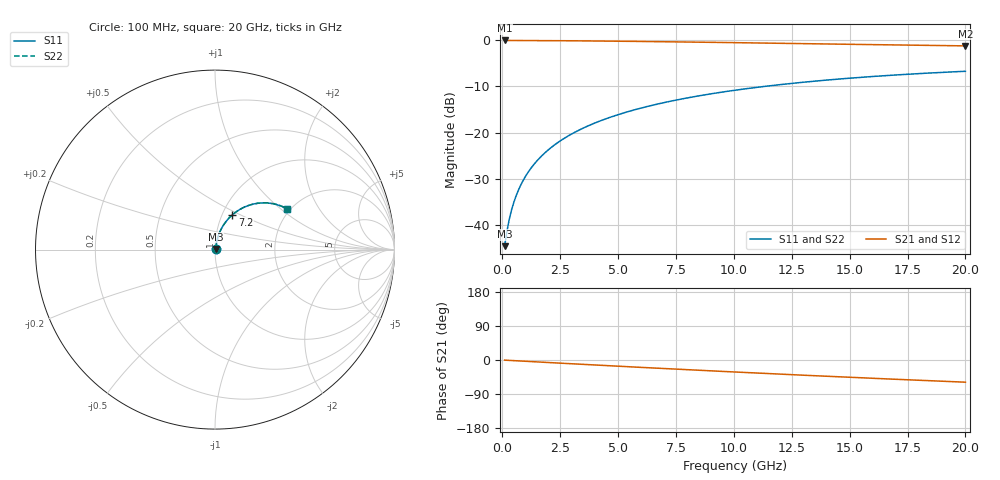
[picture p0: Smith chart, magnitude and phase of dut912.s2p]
! Touchstone file exported from HFSS 2026.1.0
!  File:  C:/ffzhzh/LocalFiles/Ansys_Project_Files/temp_train_BSMRDL_912_1783171596_43440.aedt
!  Generated:  09:28:02 PM Jul  4, 2026
!  Design:  BSMRDL
!  Project:  temp_train_BSMRDL_912_1783171596_43440
! Variables:
!  h_bsmrdl = 5.35um
!  h_ox = 20um
!  h_rdl = 5um
!  h_sub = 80um
!  h_tmrdl = 5um
!  h_tsv = 80um
!  h_via = 3um
!  l_bsmrdl = 958.16um
!  l_sub = 1358.16um
!  l_tmrdl = 200um
!  m_sub = 200um
!  pitch = 34.03um
!  r_tsv = 6um
!  s_tmrdl = 10um
!  w_bsmrdl = 13.5um
!  w_sub = 500um
!  w_tmrdl = 12um
!  x_tsv_center1 = 206um
!  x_tsv_center2 = 1177.66um
!  x_tsv_center3 = 1389.66um
!  x_tsv_center4 = 2361.32um
!  x_tsv_center5 = 2573.32um
!  x_tsv_center6 = 3544.98um
# GHz S MA R 50.000000
! Terminal data exported
! Port[1] = BSM_RDL1_1_T1
! Port[2] = BSM_RDL1_1_T2
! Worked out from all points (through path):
!   200 points, 100 MHz to 20 GHz, reference 50 ohm
!   highest |S21| = -0.04 dB at 100 MHz (marker M1); lowest = -1.2 dB at 20 GHz (marker M2)
!   group delay of S21, straight-line fit = 8.12 ps
!   lowest |S11| = -44.6 dB at 100 MHz (marker M3), VSWR 1.01, Z = 50.5 + j0.355 ohm
!   |S11| at or under -10 dB: start of sweep to 11.3 GHz
!   |S22| runs from -44.6 to -6.7 dB; largest |S21 - S12| = 4.5e-15
!   S11 on the Smith chart (normalised r, x): 100 MHz: 1.01, +0.01; 7.2 GHz: 1.12, +0.46; 20 GHz: 1.93, +1.11
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0.1  0.005919 36.4  0.9953 -0.3  0.9953 -0.3  0.005919 36.4
! Gamma 0 0 0 0
! Port Impedance 50 0 50 0
0.2  0.008542 54.2  0.9951 -0.7  0.9951 -0.7  0.008541 54.2
0.3  0.01152 62.7  0.9949 -1.0  0.9949 -1.0  0.01152 62.7
0.4  0.0146 67.6  0.9947 -1.4  0.9947 -1.4  0.0146 67.6
0.5  0.01772 70.6  0.9945 -1.7  0.9945 -1.7  0.01772 70.7
0.6  0.02087 72.7  0.9943 -2.0  0.9943 -2.0  0.02087 72.8
0.8  0.02722 75.3  0.994 -2.7  0.994 -2.7  0.02722 75.3
1.1  0.03684 77.1  0.9934 -3.7  0.9934 -3.7  0.03684 77.1
1.3  0.04326 77.6  0.993 -4.4  0.993 -4.4  0.04326 77.6
1.6  0.05289 77.7  0.9923 -5.4  0.9923 -5.4  0.05289 77.7
2.1  0.06883 77.2  0.9907 -7.0  0.9907 -7.0  0.06883 77.2
2.7  0.0877 76.0  0.9885 -9.0  0.9885 -9.0  0.0877 76.0
3.5  0.1123 74.0  0.985 -11.6  0.985 -11.6  0.1123 74.0
4.2  0.1333 72.0  0.9814 -13.8  0.9814 -13.8  0.1333 72.0
5  0.1567 69.7  0.9769 -16.4  0.9769 -16.4  0.1567 69.7
6.8  0.2067 64.5  0.9657 -22.0  0.9657 -22.0  0.2067 64.5
7.2  0.2173 63.3  0.963 -23.2  0.963 -23.2  0.2173 63.4
8.6  0.2532 59.4  0.9532 -27.4  0.9532 -27.4  0.2532 59.4
10.1  0.2892 55.1  0.9421 -31.8  0.9421 -31.8  0.2892 55.2
13.4  0.3594 46.2  0.9166 -41.2  0.9166 -41.2  0.3593 46.2
16.7  0.4167 37.6  0.8918 -50.1  0.8918 -50.1  0.4167 37.6
20  0.4618 29.4  0.8695 -58.6  0.8695 -58.6  0.4617 29.5
